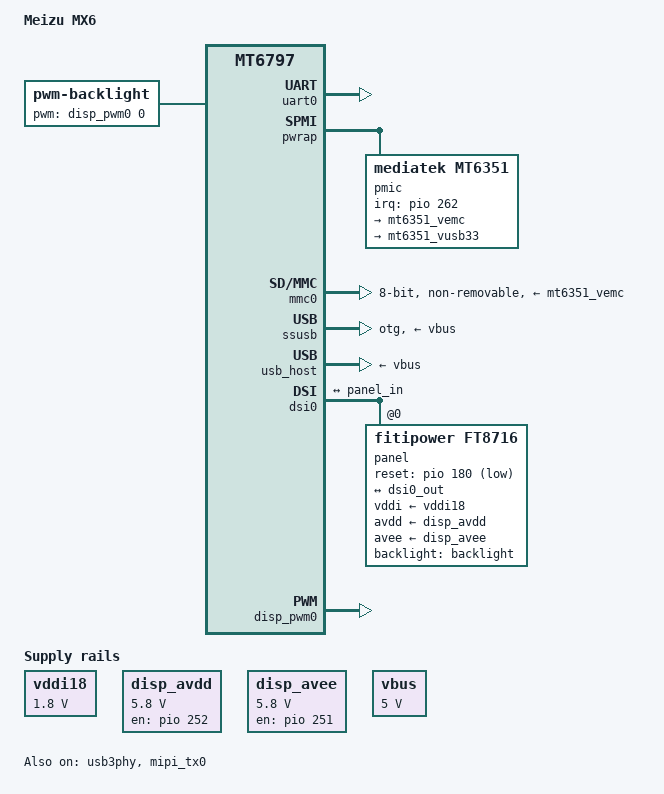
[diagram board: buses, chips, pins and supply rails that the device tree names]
// SPDX-License-Identifier: GPL-2.0-only
/dts-v1/;
#include <dt-bindings/gpio/gpio.h>

#include "mt6797.dtsi"

/ {
	model = "Meizu MX6";
	compatible = "meizu,mx6", "mediatek,mt6797";
	chassis-type = "handset";

	aliases {
		serial0 = &uart0;
		mmc0 = &mmc0;
	};

	chosen {
		stdout-path = "serial0:921600n8";
	};

	/* LK must provide the actual DRAM and reserved-memory layout. */

	/*
	 * VBUS for the USB Type-C port. The stock board drives the port
	 * through the SoC USB_DRVVBUS pin function (GPIO94 in the vendor DTS
	 * pinctrl states "drvvbus_low"/"drvvbus_high"), not through a GPIO
	 * owned by Linux, so the 5 V rail is modelled as a fixed supply that
	 * the xHCI driver can request but not switch.
	 */
	/*
	 * Panel rails. GPIO numbers, polarity and the 5.8 V TPS65132 output
	 * come from the stock MX6 device tree (analysis/m95-kernel.dts):
	 *   lcm_rst_out0/1_gpio  pin 0xb4 (180)
	 *   lcd_bias_enp0/1_gpio pin 0xfc (252), low = off, high = on
	 *   lcd_bias_enn0/1_gpio pin 0xfb (251), low = off, high = on
	 *   lcd_enp/lcd_enn      0x588040 uV = 5.8 V, boot-on
	 * VDDI18 has no GPIO or PMIC control in the stock tree (the vendor
	 * driver only calls set_gpio_lcd_vddi18()), so it is modelled as an
	 * always-on 1.8 V rail.
	 */
	/*
	 * Backlight. The stock MX6 tree describes it as
	 *   led@6 { compatible = "mediatek,lcd-backlight"; led_mode = <4>;
	 *           data = <1>; pwm_config = <0 0 0 0 0>; }
	 * which is PWM-driven backlighting on DISP_PWM channel 0. The boost
	 * converter is lcd_bl_bias@11 on i2c0 ("mediatek,lcd_bl_bias"); there
	 * is no mainline driver for it and the stock tree has no enable GPIO,
	 * so it is left as the bootloader programmed it.
	 *
	 * Period: the stock driver programs a 1024-cycle period
	 * (ddp_pwm.c:132 writes CON_1 = 1023) from the clock selected by
	 * pwm_config[0] = 0, which disp_pwm_get_clkid() maps to ULPOSC_D8
	 * ("ULPOSC 29M"), i.e. 1024 / 29 MHz = 35310 ns.
	 */
	backlight: backlight {
		compatible = "pwm-backlight";
		pwms = <&disp_pwm0 0 35310 0>;
		/* Policy default, not a hardware value. */
		default-brightness-level = <128>;
	};

	vddi18: regulator-vddi18 {
		compatible = "regulator-fixed";
		regulator-name = "vddi";
		regulator-min-microvolt = <1800000>;
		regulator-max-microvolt = <1800000>;
		regulator-always-on;
		regulator-boot-on;
	};

	disp_avdd: regulator-disp-avdd {
		compatible = "regulator-fixed";
		regulator-name = "avdd";
		regulator-min-microvolt = <5800000>;
		regulator-max-microvolt = <5800000>;
		gpio = <&pio 252 GPIO_ACTIVE_HIGH>;
		enable-active-high;
		regulator-enable-ramp-delay = <180>;
		regulator-boot-on;
	};

	disp_avee: regulator-disp-avee {
		compatible = "regulator-fixed";
		regulator-name = "avee";
		regulator-min-microvolt = <5800000>;
		regulator-max-microvolt = <5800000>;
		gpio = <&pio 251 GPIO_ACTIVE_HIGH>;
		enable-active-high;
		regulator-enable-ramp-delay = <180>;
		regulator-boot-on;
	};

	vbus: regulator-usb-vbus {
		compatible = "regulator-fixed";
		regulator-name = "vbus";
		regulator-min-microvolt = <5000000>;
		regulator-max-microvolt = <5000000>;
		regulator-always-on;
	};
};

&uart0 {
	pinctrl-names = "default";
	pinctrl-0 = <&uart0_mx6_pins>;
	status = "okay";
};

&pio {
	uart0_mx6_pins: uart0-mx6-pins {
		pins-bus {
			pinmux = <MT6797_GPIO97__FUNC_URXD0>,
				 <MT6797_GPIO98__FUNC_UTXD0>;
		};
	};

	emmc_mx6_pins: emmc-mx6-pins {
		pins-bus {
			pinmux = <MT6797_GPIO114__FUNC_MSDC0_DAT0>,
				 <MT6797_GPIO115__FUNC_MSDC0_DAT1>,
				 <MT6797_GPIO116__FUNC_MSDC0_DAT2>,
				 <MT6797_GPIO117__FUNC_MSDC0_DAT3>,
				 <MT6797_GPIO118__FUNC_MSDC0_DAT4>,
				 <MT6797_GPIO119__FUNC_MSDC0_DAT5>,
				 <MT6797_GPIO120__FUNC_MSDC0_DAT6>,
				 <MT6797_GPIO121__FUNC_MSDC0_DAT7>,
				 <MT6797_GPIO122__FUNC_MSDC0_CMD>,
				 <MT6797_GPIO123__FUNC_MSDC0_CLK>,
				 <MT6797_GPIO124__FUNC_MSDC0_DSL>,
				 <MT6797_GPIO125__FUNC_MSDC0_RSTB>;
		};
	};
};

&pwrap {
	status = "okay";

	pmic: mt6351 {
		compatible = "mediatek,mt6351";
		interrupt-parent = <&pio>;
		interrupts = <262 IRQ_TYPE_LEVEL_HIGH>;
		interrupt-controller;
		#address-cells = <0>;
		#interrupt-cells = <2>;

		regulators {
			compatible = "mediatek,mt6351-regulator";

			mt6351_vemc: ldo-vemc {
				regulator-name = "vemc";
				regulator-always-on;
			};

			/* Fixed 3.3 V USB transceiver rail (RG_VUSB33_EN only). */
			mt6351_vusb33: ldo-vusb33 {
				regulator-name = "vusb33";
				regulator-boot-on;
			};
		};
	};
};

&mmc0 {
	vmmc-supply = <&mt6351_vemc>;
	bus-width = <8>;
	non-removable;
	no-sd;
	no-sdio;
	pinctrl-names = "default", "state_uhs";
	pinctrl-0 = <&emmc_mx6_pins>;
	pinctrl-1 = <&emmc_mx6_pins>;

	/*
	 * eMMC. Display (DSI0 + FT8716) and USB are wired up below.
	 */
	status = "okay";
};

&usb3phy {
	status = "okay";
};

/*
 * The stock MX6 wires the port as OTG (ID on GPIO181 via the IDDIG pin
 * function, VBUS drive on GPIO94 via USB_DRVVBUS), but mainline has no
 * MT6797 ID/role driver and no FUSB340 Type-C mux driver, so all that can
 * be described is the DRD controller itself. Note that mtu3 derives the
 * runtime role from its Kconfig choice, not from dr_mode: with the default
 * USB_MTU3_DUAL_ROLE both host and gadget are built and the driver forces
 * HOST mode, which is why the xHCI child is enabled below.
 */
&ssusb {
	vusb33-supply = <&mt6351_vusb33>;
	vbus-supply = <&vbus>;
	dr_mode = "otg";
	status = "okay";
};

&usb_host {
	vusb33-supply = <&mt6351_vusb33>;
	vbus-supply = <&vbus>;
	status = "okay";
};

&mipi_tx0 {
	status = "okay";
};

/*
 * FT8716 FHD panel on DSI0. The panel parameters (1080x1920, 4 lanes,
 * burst video mode, 430 MHz DSI PLL) are documented in
 * drivers/gpu/drm/panel/panel-fitipower-ft8716.c.
 */
&dsi0 {
	status = "okay";

	port {
		dsi0_out: endpoint {
			remote-endpoint = <&panel_in>;
		};
	};

	panel@0 {
		compatible = "fitipower,ft8716";
		reg = <0>;

		vddi-supply = <&vddi18>;
		avdd-supply = <&disp_avdd>;
		avee-supply = <&disp_avee>;
		backlight = <&backlight>;
		reset-gpios = <&pio 180 GPIO_ACTIVE_LOW>;

		port {
			panel_in: endpoint {
				remote-endpoint = <&dsi0_out>;
			};
		};
	};
};
&disp_pwm0 {
	status = "okay";
};
